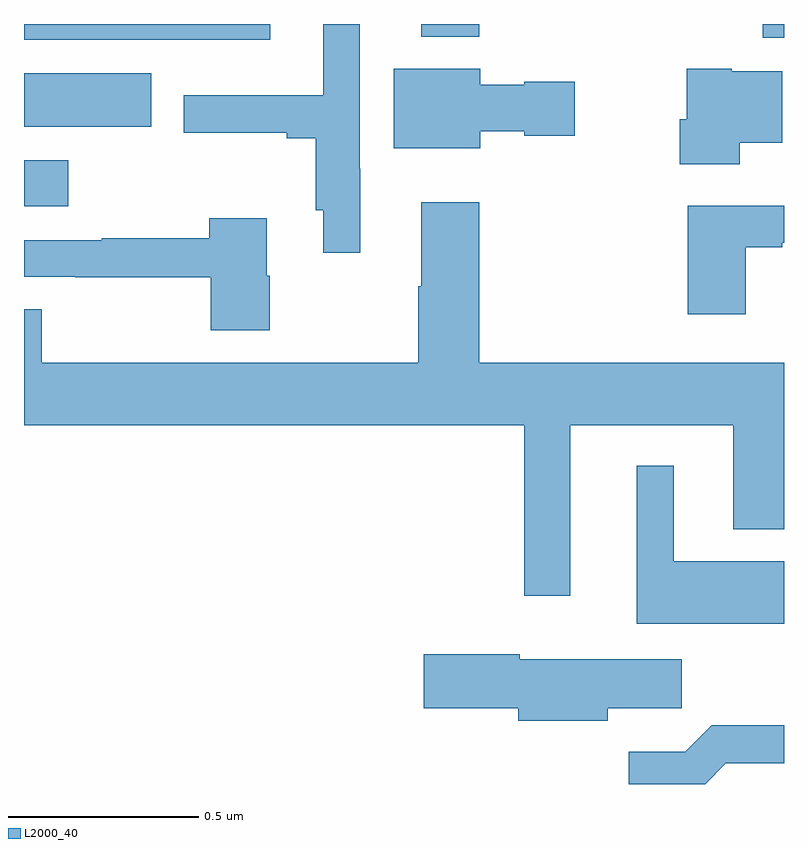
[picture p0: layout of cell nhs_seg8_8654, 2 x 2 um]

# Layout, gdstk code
import gdstk
lib = gdstk.Library(unit=1e-6, precision=1e-09)
def R(c, l, rs):  # rectangles x0, y0, x1, y1
    for r in rs: c.add(gdstk.rectangle(r[:2], r[2:], *l))
def P(c, l, *ps):  # polygons
    for p in ps: c.add(gdstk.Polygon(p, *l))
L2000_40 = (2000, 40)

nhs_seg8_8654 = lib.new_cell('nhs_seg8_8654')
R(nhs_seg8_8654, L2000_40, [(226,1106.421,226.117,1106.542), (226,1106.63,226.335,1106.77), (227.944,1106.864,228,1106.9), (227.045,1106.867,227.198,1106.9)])
P(nhs_seg8_8654, L2000_40, [(226.648,1106.9),(226,1106.9),(226,1106.859),(226.428,1106.859),(226.428,1106.858),(226.648,1106.858)],
  [(226.885,1106.519),(226.884,1106.519),(226.884,1106.9),(226.787,1106.9),(226.787,1106.713),(226.42,1106.713),(226.42,1106.614),(226.691,1106.614),(226.691,1106.6),(226.768,1106.6),(226.768,1106.41),(226.787,1106.41),(226.787,1106.298),(226.885,1106.298)],
  [(227.884,1106.588),(227.995,1106.588),(227.995,1106.776),(227.862,1106.776),(227.862,1106.782),(227.744,1106.782),(227.744,1106.649),(227.726,1106.649),(227.726,1106.531),(227.884,1106.531)],
  [(227.2,1106.618),(227.316,1106.618),(227.316,1106.606),(227.449,1106.606),(227.449,1106.748),(227.316,1106.748),(227.316,1106.74),(227.2,1106.74),(227.2,1106.782),(226.973,1106.782),(226.973,1106.573),(227.2,1106.573)],
  [(227.437,1105.844),(227.867,1105.844),(227.867,1105.571),(228,1105.571),(228,1106.008),(227.198,1106.008),(227.198,1106.431),(227.045,1106.431),(227.045,1106.21),(227.038,1106.21),(227.038,1106.008),(226.047,1106.008),(226.047,1106.15),(226,1106.15),(226,1105.844),(227.316,1105.844),(227.316,1105.395),(227.437,1105.395)],
  [(227.899,1106.313),(227.995,1106.313),(227.995,1106.325),(228,1106.325),(228,1106.422),(227.747,1106.422),(227.747,1106.136),(227.899,1106.136)],
  [(226.647,1106.238),(226.639,1106.238),(226.639,1106.389),(226.487,1106.389),(226.487,1106.336),(226.204,1106.336),(226.204,1106.331),(226,1106.331),(226,1106.235),(226.135,1106.235),(226.135,1106.233),(226.492,1106.233),(226.492,1106.094),(226.647,1106.094)],
  [(228,1105.486),(227.71,1105.486),(227.71,1105.738),(227.612,1105.738),(227.612,1105.322),(228,1105.322)],
  [(227.536,1105.099),(227.731,1105.099),(227.731,1105.228),(227.304,1105.228),(227.304,1105.241),(227.052,1105.241),(227.052,1105.099),(227.3,1105.099),(227.3,1105.067),(227.536,1105.067)],
  [(227.847,1104.954),(228,1104.954),(228,1105.055),(227.81,1105.055),(227.74,1104.985),(227.591,1104.985),(227.591,1104.9),(227.793,1104.9)])

lib.write_gds('nhs_seg8_8654.gds')
